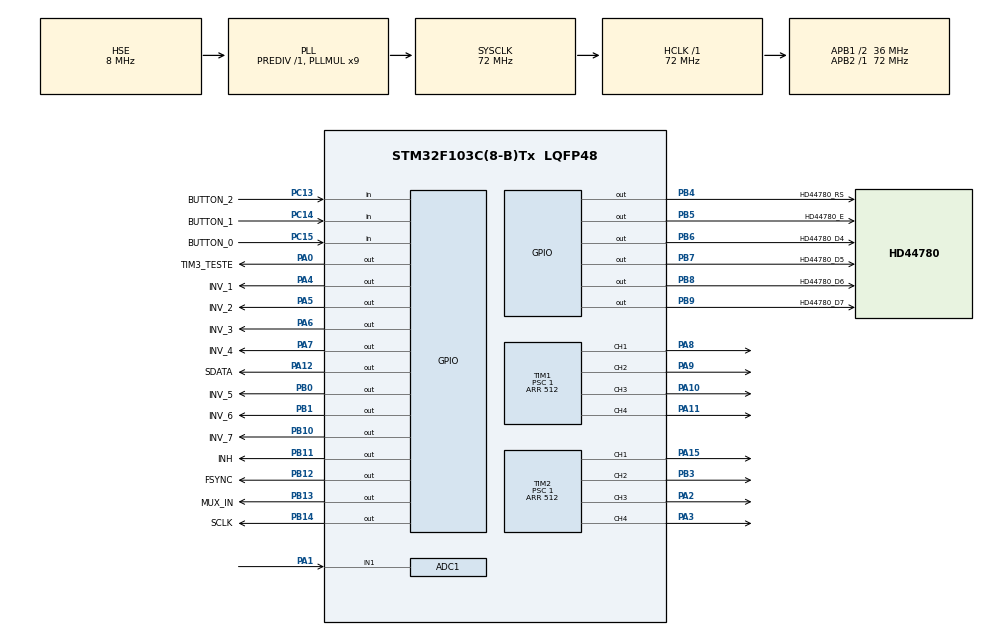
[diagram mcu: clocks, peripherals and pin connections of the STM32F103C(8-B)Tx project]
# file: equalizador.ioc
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ADC1.Channel-17\#ChannelRegularConversion=ADC_CHANNEL_1
ADC1.Channel-18\#ChannelRegularConversion=ADC_CHANNEL_1
ADC1.ContinuousConvMode=ENABLE
ADC1.DataAlign=ADC_DATAALIGN_RIGHT
ADC1.DiscontinuousConvMode=DISABLE
ADC1.EnableAnalogWatchDog=false
ADC1.EnableRegularConversion=ENABLE
ADC1.ExternalTrigConv=ADC_SOFTWARE_START
ADC1.InjNumberOfConversion=0
ADC1.NbrOfConversion=2
ADC1.NbrOfConversionFlag=1
ADC1.Rank-17\#ChannelRegularConversion=1
ADC1.Rank-18\#ChannelRegularConversion=2
ADC1.SamplingTime-17\#ChannelRegularConversion=ADC_SAMPLETIME_1CYCLE_5
ADC1.SamplingTime-18\#ChannelRegularConversion=ADC_SAMPLETIME_1CYCLE_5
ADC1.ScanConvMode=ADC_SCAN_ENABLE
ADC1.master=1
Dma.ADC1.0.Direction=DMA_PERIPH_TO_MEMORY
Dma.ADC1.0.Instance=DMA1_Channel1
Dma.ADC1.0.MemDataAlignment=DMA_MDATAALIGN_WORD
Dma.ADC1.0.MemInc=DMA_MINC_ENABLE
Dma.ADC1.0.Mode=DMA_CIRCULAR
Dma.ADC1.0.PeriphDataAlignment=DMA_PDATAALIGN_WORD
Dma.ADC1.0.PeriphInc=DMA_PINC_DISABLE
Dma.ADC1.0.Priority=DMA_PRIORITY_HIGH
Dma.Request0=ADC1
Mcu.Family=STM32F1
Mcu.Name=STM32F103C(8-B)Tx
Mcu.Package=LQFP48
NVIC.ADC1_2_IRQn=true\:0\:0\:false\:false\:true\:true
NVIC.DMA1_Channel1_IRQn=true\:0\:0\:false\:false\:true\:false
NVIC.PriorityGroup=NVIC_PRIORITYGROUP_4
NVIC.TIM3_IRQn=true\:0\:0\:false\:false\:true\:true
NVIC.TIM4_IRQn=true\:0\:0\:false\:false\:true\:false
NVIC.TimeBase=TIM4_IRQn
NVIC.TimeBaseIP=TIM4
PA0-WKUP.GPIO_Label=TIM3_TESTE
PA0-WKUP.Signal=GPIO_Output
PA1.Signal=ADCx_IN1
PA10.Signal=S_TIM1_CH3
PA11.Signal=S_TIM1_CH4
PA12.GPIO_Label=SDATA
PA12.Signal=GPIO_Output
PA13.Mode=Serial_Wire
PA13.Signal=SYS_JTMS-SWDIO
PA14.Mode=Serial_Wire
PA14.Signal=SYS_JTCK-SWCLK
PA15.Signal=S_TIM2_CH1_ETR
PA2.Signal=S_TIM2_CH3
PA3.Signal=S_TIM2_CH4
PA4.GPIO_Label=INV_1
PA4.Signal=GPIO_Output
PA5.GPIO_Label=INV_2
PA5.Signal=GPIO_Output
PA6.GPIO_Label=INV_3
PA6.Signal=GPIO_Output
PA7.GPIO_Label=INV_4
PA7.Signal=GPIO_Output
PA8.Signal=S_TIM1_CH1
PA9.Signal=S_TIM1_CH2
PB0.GPIO_Label=INV_5
PB0.Signal=GPIO_Output
PB1.GPIO_Label=INV_6
PB1.Signal=GPIO_Output
PB10.GPIO_Label=INV_7
PB10.Signal=GPIO_Output
PB11.GPIO_Label=INH
PB11.Signal=GPIO_Output
PB12.GPIO_Label=FSYNC
PB12.Signal=GPIO_Output
PB13.GPIO_Label=MUX_IN
PB13.Signal=GPIO_Output
PB14.GPIO_Label=SCLK
PB14.Signal=GPIO_Output
PB3.Signal=S_TIM2_CH2
PB4.GPIO_Label=HD44780_RS
PB4.Signal=GPIO_Output
PB5.GPIO_Label=HD44780_E
PB5.Signal=GPIO_Output
PB6.GPIO_Label=HD44780_D4
PB6.Signal=GPIO_Output
PB7.GPIO_Label=HD44780_D5
PB7.Signal=GPIO_Output
PB8.GPIO_Label=HD44780_D6
PB8.Signal=GPIO_Output
PB9.GPIO_Label=HD44780_D7
PB9.Signal=GPIO_Output
PC13-TAMPER-RTC.GPIO_Label=BUTTON_2
PC13-TAMPER-RTC.GPIO_PuPd=GPIO_PULLUP
PC13-TAMPER-RTC.Signal=GPIO_Input
PC14-OSC32_IN.GPIO_Label=BUTTON_1
PC14-OSC32_IN.GPIO_PuPd=GPIO_PULLUP
PC14-OSC32_IN.Signal=GPIO_Input
PC15-OSC32_OUT.GPIO_Label=BUTTON_0
PC15-OSC32_OUT.GPIO_PuPd=GPIO_PULLUP
PC15-OSC32_OUT.Signal=GPIO_Input
PD0-OSC_IN.Mode=HSE-External-Oscillator
PD0-OSC_IN.Signal=RCC_OSC_IN
PD1-OSC_OUT.Mode=HSE-External-Oscillator
PD1-OSC_OUT.Signal=RCC_OSC_OUT
ProjectManager.HeapSize=0x200
ProjectManager.StackSize=0x400
ProjectManager.TargetToolchain=SW4STM32
RCC.ADCPresc=RCC_ADCPCLK2_DIV6
RCC.AHBFreq_Value=72000000
RCC.APB1CLKDivider=RCC_HCLK_DIV2
RCC.APB1Freq_Value=36000000
RCC.APB1TimFreq_Value=72000000
RCC.APB2Freq_Value=72000000
RCC.APB2TimFreq_Value=72000000
RCC.HCLKFreq_Value=72000000
RCC.PLLMUL=RCC_PLL_MUL9
RCC.PLLSourceVirtual=RCC_PLLSOURCE_HSE
RCC.SYSCLKFreq_VALUE=72000000
RCC.SYSCLKSource=RCC_SYSCLKSOURCE_PLLCLK
RCC.USBFreq_Value=72000000
SH.ADCx_IN1.0=ADC1_IN1,IN1
SH.S_TIM1_CH1.0=TIM1_CH1,PWM Generation1 CH1
SH.S_TIM1_CH2.0=TIM1_CH2,PWM Generation2 CH2
SH.S_TIM1_CH3.0=TIM1_CH3,PWM Generation3 CH3
SH.S_TIM1_CH4.0=TIM1_CH4,PWM Generation4 CH4
SH.S_TIM2_CH1_ETR.0=TIM2_CH1,PWM Generation1 CH1
SH.S_TIM2_CH2.0=TIM2_CH2,PWM Generation2 CH2
SH.S_TIM2_CH3.0=TIM2_CH3,PWM Generation3 CH3
SH.S_TIM2_CH4.0=TIM2_CH4,PWM Generation4 CH4
TIM1.Channel-PWM\ Generation1\ CH1=TIM_CHANNEL_1
TIM1.Channel-PWM\ Generation2\ CH2=TIM_CHANNEL_2
TIM1.Channel-PWM\ Generation3\ CH3=TIM_CHANNEL_3
TIM1.Channel-PWM\ Generation4\ CH4=TIM_CHANNEL_4
TIM1.Period=512
TIM1.Prescaler=1
TIM1.Pulse-PWM\ Generation1\ CH1=256
TIM1.Pulse-PWM\ Generation2\ CH2=256
TIM1.Pulse-PWM\ Generation3\ CH3=256
TIM1.Pulse-PWM\ Generation4\ CH4=256
TIM2.Channel-PWM\ Generation1\ CH1=TIM_CHANNEL_1
TIM2.Channel-PWM\ Generation2\ CH2=TIM_CHANNEL_2
TIM2.Channel-PWM\ Generation3\ CH3=TIM_CHANNEL_3
TIM2.Channel-PWM\ Generation4\ CH4=TIM_CHANNEL_4
TIM2.Period=512
TIM2.Prescaler=1
TIM2.Pulse-PWM\ Generation1\ CH1=256
TIM2.Pulse-PWM\ Generation2\ CH2=256
TIM2.Pulse-PWM\ Generation3\ CH3=256
TIM2.Pulse-PWM\ Generation4\ CH4=256
TIM3.Period=1
TIM3.Prescaler=150
VP_SYS_VS_tim4.Mode=TIM4
VP_TIM1_VS_ClockSourceINT.Mode=Internal
VP_TIM2_VS_ClockSourceINT.Mode=Internal
VP_TIM3_VS_ClockSourceINT.Mode=Internal
board=custom

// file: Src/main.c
/**
  ******************************************************************************
  * @file           : main.c
  * @brief          : Main program body
  ******************************************************************************
  ** This notice applies to any and all portions of this file
  * that are not between comment pairs USER CODE BEGIN and
  * USER CODE END. Other portions of this file, whether
  * inserted by the user or by software development tools
  * are owned by their respective copyright owners.
  *
  * COPYRIGHT(c) 2018 STMicroelectronics
  *
  * Redistribution and use in source and binary forms, with or without modification,
  * are permitted provided that the following conditions are met:
  *   1. Redistributions of source code must retain the above copyright notice,
  *      this list of conditions and the following disclaimer.
  *   2. Redistributions in binary form must reproduce the above copyright notice,
  *      this list of conditions and the following disclaimer in the documentation
  *      and/or other materials provided with the distribution.
  *   3. Neither the name of STMicroelectronics nor the names of its contributors
  *      may be used to endorse or promote products derived from this software
  *      without specific prior written permission.
  *
  * THIS SOFTWARE IS PROVIDED BY THE COPYRIGHT HOLDERS AND CONTRIBUTORS "AS IS"
  * AND ANY EXPRESS OR IMPLIED WARRANTIES, INCLUDING, BUT NOT LIMITED TO, THE
  * IMPLIED WARRANTIES OF MERCHANTABILITY AND FITNESS FOR A PARTICULAR PURPOSE ARE
  * DISCLAIMED. IN NO EVENT SHALL THE COPYRIGHT HOLDER OR CONTRIBUTORS BE LIABLE
  * FOR ANY DIRECT, INDIRECT, INCIDENTAL, SPECIAL, EXEMPLARY, OR CONSEQUENTIAL
  * DAMAGES (INCLUDING, BUT NOT LIMITED TO, PROCUREMENT OF SUBSTITUTE GOODS OR
  * SERVICES; LOSS OF USE, DATA, OR PROFITS; OR BUSINESS INTERRUPTION) HOWEVER
  * CAUSED AND ON ANY THEORY OF LIABILITY, WHETHER IN CONTRACT, STRICT LIABILITY,
  * OR TORT (INCLUDING NEGLIGENCE OR OTHERWISE) ARISING IN ANY WAY OUT OF THE USE
  * OF THIS SOFTWARE, EVEN IF ADVISED OF THE POSSIBILITY OF SUCH DAMAGE.
  *
  ******************************************************************************
  */
#include "main.h"
#include "stm32f1xx_hal.h"
#include "adc.h"
#include "dma.h"
#include "tim.h"
#include "gpio.h"

/* USER CODE BEGIN Includes */
#include "tm_stm32_hd44780.h"
#include "equalizador.h"
#include <math.h>

/* USER CODE END Includes */

/* USER CODE BEGIN PV */
/* Private variables ---------------------------------------------------------*/
int prescaler[8] = {0, 0, 0, 0, 0, 0, 0, 8};
TIM_HandleTypeDef *htim_d[8] = {&htim1, &htim1, &htim1, &htim1, &htim2, &htim2, &htim2, &htim2};
uint32_t channel[8] = {TIM_CHANNEL_1, TIM_CHANNEL_2, TIM_CHANNEL_3, TIM_CHANNEL_4, TIM_CHANNEL_1, TIM_CHANNEL_2, TIM_CHANNEL_3, TIM_CHANNEL_4};
uint32_t posxy[8][2] = {{0,0},{4,0},{8,0},{12,0},{0,1},{4,1},{8,1},{12,1}};

GPIO_TypeDef *inv_port[7] = {INV_1_GPIO_Port, INV_2_GPIO_Port, INV_3_GPIO_Port, INV_4_GPIO_Port, INV_5_GPIO_Port, INV_6_GPIO_Port, INV_7_GPIO_Port};
uint32_t inv_pin[7] = {INV_1_Pin, INV_2_Pin, INV_3_Pin, INV_4_Pin, INV_5_Pin, INV_6_Pin, INV_7_Pin};

int32_t wFreq;

uint32_t ADC_buffer[1024];
uint32_t valor_ADC[256];
uint32_t n_buffer = 0;

/* USER CODE END PV */

void SystemClock_Config(void);

/* USER CODE BEGIN PFP */
/* Private function prototypes -----------------------------------------------*/

/* USER CODE END PFP */

/* USER CODE BEGIN 0 */

/*
void HAL_ADC_ConvCpltCallback(ADC_HandleTypeDef *hadc)
{
	if(hadc->Instance == ADC1)
	{
		valor_ADC=ADC_buffer;
	}
}
 */
/* USER CODE END 0 */

int main(void)
{
  /* USER CODE BEGIN 1 */
	uint32_t pwm_menu = 7;

	uint32_t button0_d = 0;
	uint32_t button1_d = 0;
	uint32_t button2_d = 0;
	uint32_t i, sum_rms, pow_rms;
	float auxf_rms, rms;

	char buffer_i2s[5];

  /* USER CODE END 1 */

  /* MCU Configuration----------------------------------------------------------*/

  /* Reset of all peripherals, Initializes the Flash interface and the Systick. */
  HAL_Init();

  /* Configure the system clock */
  SystemClock_Config();

  /* Initialize all configured peripherals */
  MX_GPIO_Init();
  MX_DMA_Init();
  MX_TIM1_Init();
  MX_TIM2_Init();
  MX_TIM3_Init();
  MX_ADC1_Init();
  /* USER CODE BEGIN 2 */

	HAL_ADC_Start_DMA(&hadc1,(uint32_t*)ADC_buffer,1024);

	HAL_TIM_Base_Start_IT(&htim3);

	__HAL_TIM_SET_PRESCALER(&htim3,22500);

	// Inicializa PWM
	for(i = 0; i < 8; i++){
		__HAL_TIM_SET_COMPARE(htim_d[i], channel[i], 512-prescaler[i]);
		HAL_TIM_PWM_Start(htim_d[i], channel[i]);
	}
	/////////////////

	/* Initialize LCD 16 cols x 2 rows */
	TM_HD44780_Init(16, 2);

	/* Put string to LCD */
	// Imprime todos os valores de prescaler no display
	for(i = 0; i < 8; i++){
		snprintf ( buffer_i2s, 5, "%4d", prescaler[i]);
		TM_HD44780_Puts(posxy[i][0], posxy[i][1], buffer_i2s);
	}

	TM_HD44780_BlinkOn();												// Liga o blink
	TM_HD44780_CursorSet(posxy[pwm_menu][0]+3, posxy[pwm_menu][1]);		// Move o cursor para o primeiro prescaler impresso
	////////////////////////////////////////////////////

	HAL_GPIO_WritePin(INH_GPIO_Port, INH_Pin, GPIO_PIN_RESET);		//Ativa o multiplexador

	//Inicia os pinos do SPI
	HAL_GPIO_WritePin(FSYNC_GPIO_Port, FSYNC_Pin, GPIO_PIN_SET);
	HAL_GPIO_WritePin(SDATA_GPIO_Port, SDATA_Pin, GPIO_PIN_RESET);
	HAL_GPIO_WritePin(SCLK_GPIO_Port, SCLK_Pin, GPIO_PIN_RESET);
	HAL_Delay(10);
	////////////////////////

	// Palavra da freq inicial
	//wFreq = 0x00000432;     	// 100 Hz
	wFreq = FREQ_400Hz;

	initFreq(wFreq);

	HAL_Delay(10);

	SendFreq(wFreq);

	HAL_GPIO_WritePin(MUX_IN_GPIO_Port, MUX_IN_Pin, GPIO_PIN_RESET);

  /* USER CODE END 2 */

  /* Infinite loop */
	while (1)
	{

  /* USER CODE BEGIN 3 */
		//SendFreq(wFreq);
		//HAL_Delay(1);

		if((HAL_GPIO_ReadPin(BUTTON_0_GPIO_Port, BUTTON_0_Pin) == 0) && (button0_d == 0)){

			button0_d = 1;
			pwm_menu++;
			if(pwm_menu > 7){
				pwm_menu = 0;
			}

			TM_HD44780_CursorSet(posxy[pwm_menu][0]+3, posxy[pwm_menu][1]);

			HAL_Delay(10);
		}else if((HAL_GPIO_ReadPin(BUTTON_0_GPIO_Port, BUTTON_0_Pin) == 1) && (button0_d == 1)){

			button0_d = 0;
			HAL_Delay(10);

		}

		if((HAL_GPIO_ReadPin(BUTTON_1_GPIO_Port, BUTTON_1_Pin) == 0) && (button1_d == 0)){

			button1_d = 1;

			if(prescaler[pwm_menu] < 504){
				prescaler[pwm_menu] += 8;
			}

			update_pwm(pwm_menu);

			HAL_Delay(10);
		}else if((HAL_GPIO_ReadPin(BUTTON_1_GPIO_Port, BUTTON_1_Pin) == 1) && (button1_d == 1)){

			button1_d = 0;
			HAL_Delay(10);

		}

		if((HAL_GPIO_ReadPin(BUTTON_2_GPIO_Port, BUTTON_2_Pin) == 0) && (button2_d == 0)){

			button2_d = 1;

			if(pwm_menu < 7){
				if(prescaler[pwm_menu] > -504){
					prescaler[pwm_menu] -= 8;
				}

			}else{

				if(prescaler[pwm_menu] > 7){
					prescaler[pwm_menu] -= 8;
				}

			}

			update_pwm(pwm_menu);

			HAL_Delay(10);
		}else if((HAL_GPIO_ReadPin(BUTTON_2_GPIO_Port, BUTTON_2_Pin) == 1) && (button2_d == 1)){

			button2_d = 0;
			HAL_Delay(10);

		}

		//valor_ADC = 1000;
/*
	uint32_t i, sum_rms, pow_rms;
	float auxf_rms, rms;
 */
		if(n_buffer > 255){
			sum_rms = 0;
			for(i = 0; i < 256; i++){

				if(valor_ADC[i] > 2047){
					pow_rms = valor_ADC[i] - 2047;
				}else{
					pow_rms = 2047 - valor_ADC[i];
				}

				pow_rms *= pow_rms;
				sum_rms += pow_rms;

			}
			rms = (float)sum_rms / 256;
			rms = sqrt(rms);
			rms = rms*(3.3/4096);
			n_buffer = 0;
			snprintf ( buffer_i2s, 5, "%.3f", rms);
			TM_HD44780_Puts(0, 0, buffer_i2s);
			HAL_Delay(100);
		}

	}

  /* USER CODE END 3 */

}

void SystemClock_Config(void)
{

  RCC_OscInitTypeDef RCC_OscInitStruct;
  RCC_ClkInitTypeDef RCC_ClkInitStruct;
  RCC_PeriphCLKInitTypeDef PeriphClkInit;

    /**Initializes the CPU, AHB and APB busses clocks
    */
  RCC_OscInitStruct.OscillatorType = RCC_OSCILLATORTYPE_HSE;
  RCC_OscInitStruct.HSEState = RCC_HSE_ON;
  RCC_OscInitStruct.HSEPredivValue = RCC_HSE_PREDIV_DIV1;
  RCC_OscInitStruct.HSIState = RCC_HSI_ON;
  RCC_OscInitStruct.PLL.PLLState = RCC_PLL_ON;
  RCC_OscInitStruct.PLL.PLLSource = RCC_PLLSOURCE_HSE;
  RCC_OscInitStruct.PLL.PLLMUL = RCC_PLL_MUL9;
  if (HAL_RCC_OscConfig(&RCC_OscInitStruct) != HAL_OK)
  {
    _Error_Handler(__FILE__, __LINE__);
  }

    /**Initializes the CPU, AHB and APB busses clocks
    */
  RCC_ClkInitStruct.ClockType = RCC_CLOCKTYPE_HCLK|RCC_CLOCKTYPE_SYSCLK
                              |RCC_CLOCKTYPE_PCLK1|RCC_CLOCKTYPE_PCLK2;
  RCC_ClkInitStruct.SYSCLKSource = RCC_SYSCLKSOURCE_PLLCLK;
  RCC_ClkInitStruct.AHBCLKDivider = RCC_SYSCLK_DIV1;
  RCC_ClkInitStruct.APB1CLKDivider = RCC_HCLK_DIV2;
  RCC_ClkInitStruct.APB2CLKDivider = RCC_HCLK_DIV1;

  if (HAL_RCC_ClockConfig(&RCC_ClkInitStruct, FLASH_LATENCY_2) != HAL_OK)
  {
    _Error_Handler(__FILE__, __LINE__);
  }

  PeriphClkInit.PeriphClockSelection = RCC_PERIPHCLK_ADC;
  PeriphClkInit.AdcClockSelection = RCC_ADCPCLK2_DIV6;
  if (HAL_RCCEx_PeriphCLKConfig(&PeriphClkInit) != HAL_OK)
  {
    _Error_Handler(__FILE__, __LINE__);
  }

    /**Configure the Systick interrupt time
    */
  HAL_SYSTICK_Config(HAL_RCC_GetHCLKFreq()/1000);

    /**Configure the Systick
    */
  HAL_SYSTICK_CLKSourceConfig(SYSTICK_CLKSOURCE_HCLK);

  /* SysTick_IRQn interrupt configuration */
  HAL_NVIC_SetPriority(SysTick_IRQn, 0, 0);
}

void HAL_TIM_PeriodElapsedCallback(TIM_HandleTypeDef *htim)
{
  if (htim->Instance == TIM4) {
    HAL_IncTick();
  }
  /* USER CODE BEGIN Callback 1 */
	if (htim->Instance == htim3.Instance)
	{
		HAL_GPIO_TogglePin(TIM3_TESTE_GPIO_Port, TIM3_TESTE_Pin);
		n_buffer++;
		if(n_buffer<256){
			valor_ADC[n_buffer] = ADC_buffer[0];

		}

	}
  /* USER CODE END Callback 1 */
}

void _Error_Handler(char *file, int line)
{
	while(1)
	{
	}
}

/************************ (C) COPYRIGHT STMicroelectronics *****END OF FILE****/
